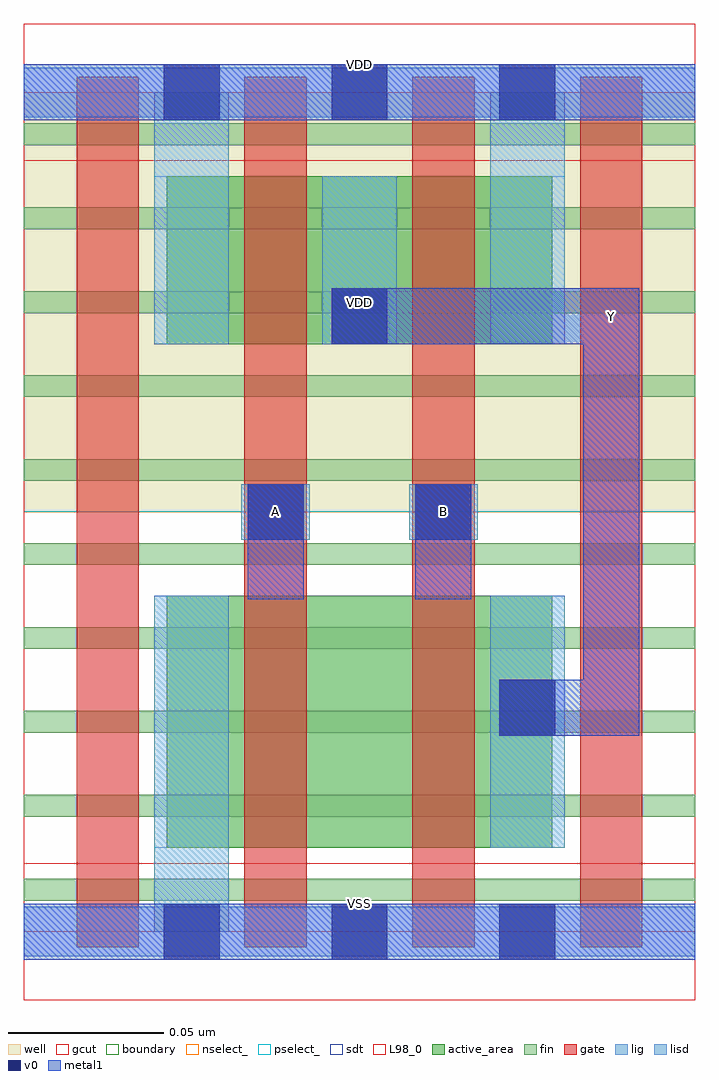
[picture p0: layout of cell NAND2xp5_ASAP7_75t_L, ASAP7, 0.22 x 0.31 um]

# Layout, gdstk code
import gdstk
lib = gdstk.Library(unit=1e-6, precision=2.5e-10)
def R(c, l, rs):  # rectangles x0, y0, x1, y1
    for r in rs: c.add(gdstk.rectangle(r[:2], r[2:], *l))
def A(c, l, x, y, w, h, nx, ny, dx, dy):  # array of equal rectangles
    R(c, l, [(x+i*dx, y+j*dy, x+i*dx+w, y+j*dy+h) for i in range(nx) for j in range(ny)])
def P(c, l, *ps):  # polygons
    for p in ps: c.add(gdstk.Polygon(p, *l))
well = (1, 0)
fin = (2, 0)
gate = (7, 0)
gcut = (10, 0)
active_area = (11, 0)
nselect_ = (12, 0)
pselect_ = (13, 0)
lig = (16, 0)
lisd = (17, 0)
v0 = (18, 0)
metal1 = (19, 0)
sdt = (88, 0)
L98_0 = (98, 0)
boundary = (100, 0)

nand2xp5_asap7_75t_l = lib.new_cell('NAND2xp5_ASAP7_75t_L')
R(nand2xp5_asap7_75t_l, well, [(0,0.135,0.216,0.27)])
A(nand2xp5_asap7_75t_l, fin, 0, 0.01, 0.216, 0.007, 1, 10, 0, 0.027)
A(nand2xp5_asap7_75t_l, gate, 0.017, -0.005, 0.02, 0.28, 4, 1, 0.054, 0)
R(nand2xp5_asap7_75t_l, gcut, [(0,-0.022,0.216,0.022), (0,0.248,0.216,0.292)])
R(nand2xp5_asap7_75t_l, active_area, [(0.046,0.027,0.17,0.108), (0.046,0.189,0.17,0.243)])
R(nand2xp5_asap7_75t_l, nselect_, [(0,0,0.216,0.135)])
R(nand2xp5_asap7_75t_l, pselect_, [(0,0.135,0.216,0.27)])
R(nand2xp5_asap7_75t_l, lig, [(0,-0.008,0.216,0.008), (0.07,0.126,0.092,0.144), (0.124,0.126,0.146,0.144), (0,0.262,0.216,0.278)])
R(nand2xp5_asap7_75t_l, lisd, [(0.042,0,0.066,0.108), (0.042,0,0.066,0.108), (0.15,0.027,0.174,0.108), (0.042,0.189,0.066,0.27), (0.042,0.189,0.066,0.27), (0.096,0.189,0.12,0.243), (0.15,0.189,0.174,0.27), (0.15,0.189,0.174,0.27)])
A(nand2xp5_asap7_75t_l, v0, 0.045, -0.009, 0.018, 0.018, 3, 2, 0.054, 0.27)
R(nand2xp5_asap7_75t_l, v0, [(0.153,0.063,0.171,0.081), (0.072,0.126,0.09,0.144), (0.126,0.126,0.144,0.144), (0.099,0.189,0.117,0.207)])
R(nand2xp5_asap7_75t_l, metal1, [(0,-0.009,0.216,0.009), (0.153,0.063,0.171,0.081), (0.072,0.107,0.09,0.144), (0.126,0.107,0.144,0.144), (0.072,0.126,0.09,0.144), (0.126,0.126,0.144,0.144), (0.099,0.189,0.117,0.207), (0,0.261,0.216,0.279)])
P(nand2xp5_asap7_75t_l, metal1, [(0.099,0.207),(0.099,0.189),(0.18,0.189),(0.18,0.081),(0.153,0.081),(0.153,0.063),(0.198,0.063),(0.198,0.207)])
A(nand2xp5_asap7_75t_l, sdt, 0.042, 0.189, 0.024, 0.054, 3, 1, 0.054, 0)
R(nand2xp5_asap7_75t_l, sdt, [(0.042,0.027,0.066,0.108), (0.042,0.027,0.066,0.108), (0.15,0.027,0.174,0.108), (0.042,0.189,0.066,0.243), (0.15,0.189,0.174,0.243)])
R(nand2xp5_asap7_75t_l, L98_0, [(0,0,0.216,0.27)])
R(nand2xp5_asap7_75t_l, boundary, [(0,0,0.216,0.27)])
nand2xp5_asap7_75t_l.add(gdstk.Label('VDD', (0.108,0.2025), layer=1, texttype=251))
nand2xp5_asap7_75t_l.add(gdstk.Label('VSS', (0.108,-0.0675), layer=3, texttype=251))
nand2xp5_asap7_75t_l.add(gdstk.Label('VSS', (0.108,0.009), layer=19, texttype=251))
nand2xp5_asap7_75t_l.add(gdstk.Label('VDD', (0.108,0.279), layer=19, texttype=251))
nand2xp5_asap7_75t_l.add(gdstk.Label('A', (0.081,0.135), layer=19, texttype=251))
nand2xp5_asap7_75t_l.add(gdstk.Label('Y', (0.189,0.198), layer=19, texttype=251))
nand2xp5_asap7_75t_l.add(gdstk.Label('B', (0.135,0.135), layer=19, texttype=251))

lib.write_gds('NAND2xp5_ASAP7_75t_L.gds')
